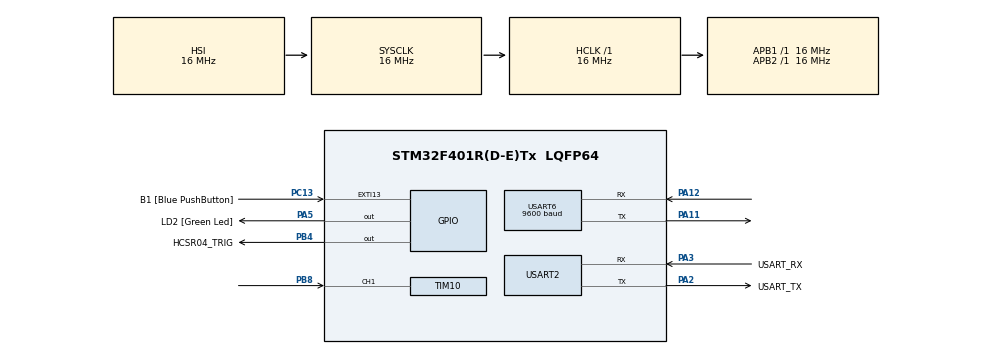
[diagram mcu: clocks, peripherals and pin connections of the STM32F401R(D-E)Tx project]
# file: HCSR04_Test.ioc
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Mcu.Family=STM32F4
Mcu.Name=STM32F401R(D-E)Tx
Mcu.Package=LQFP64
NVIC.PriorityGroup=NVIC_PRIORITYGROUP_0
NVIC.TIM1_UP_TIM10_IRQn=true\:0\:0\:false\:false\:true\:true\:true\:true
NVIC.USART6_IRQn=true\:0\:0\:false\:false\:true\:true\:true\:true
PA11.Mode=Asynchronous
PA11.Signal=USART6_TX
PA12.Mode=Asynchronous
PA12.Signal=USART6_RX
PA13.GPIO_Label=TMS
PA13.Mode=Serial_Wire
PA13.Signal=SYS_JTMS-SWDIO
PA14.GPIO_Label=TCK
PA14.Mode=Serial_Wire
PA14.Signal=SYS_JTCK-SWCLK
PA2.GPIO_Label=USART_TX
PA2.GPIO_Mode=GPIO_MODE_AF_PP
PA2.GPIO_PuPd=GPIO_NOPULL
PA2.GPIO_Speed=GPIO_SPEED_FREQ_LOW
PA2.Mode=Asynchronous
PA2.Signal=USART2_TX
PA3.GPIO_Label=USART_RX
PA3.GPIO_Mode=GPIO_MODE_AF_PP
PA3.GPIO_PuPd=GPIO_NOPULL
PA3.GPIO_Speed=GPIO_SPEED_FREQ_LOW
PA3.Mode=Asynchronous
PA3.Signal=USART2_RX
PA5.GPIO_Label=LD2 [Green Led]
PA5.GPIO_Mode=GPIO_MODE_OUTPUT_PP
PA5.GPIO_PuPd=GPIO_NOPULL
PA5.GPIO_Speed=GPIO_SPEED_FREQ_LOW
PA5.Signal=GPIO_Output
PB3.GPIO_Label=SWO
PB3.Signal=SYS_JTDO-SWO
PB4.GPIO_Label=HCSR04_TRIG
PB4.Signal=GPIO_Output
PB8.Signal=S_TIM10_CH1
PC13-ANTI_TAMP.GPIO_Label=B1 [Blue PushButton]
PC13-ANTI_TAMP.GPIO_ModeDefaultEXTI=GPIO_MODE_IT_FALLING
PC13-ANTI_TAMP.GPIO_PuPd=GPIO_NOPULL
PC13-ANTI_TAMP.Signal=GPXTI13
PC14-OSC32_IN.Mode=LSE-External-Oscillator
PC14-OSC32_IN.Signal=RCC_OSC32_IN
PC15-OSC32_OUT.Mode=LSE-External-Oscillator
PC15-OSC32_OUT.Signal=RCC_OSC32_OUT
PH0\ -\ OSC_IN.Mode=HSE-External-Clock-Source
PH0\ -\ OSC_IN.Signal=RCC_OSC_IN
PH1\ -\ OSC_OUT.Mode=HSE-External-Clock-Source
PH1\ -\ OSC_OUT.Signal=RCC_OSC_OUT
ProjectManager.HeapSize=0x200
ProjectManager.StackSize=0x400
ProjectManager.TargetToolchain=STM32CubeIDE
RCC.48MHZClocksFreq_Value=48000000
RCC.AHBFreq_Value=16000000
RCC.APB1Freq_Value=16000000
RCC.APB1TimFreq_Value=16000000
RCC.APB2Freq_Value=16000000
RCC.APB2TimFreq_Value=16000000
RCC.CortexFreq_Value=16000000
RCC.HCLKFreq_Value=16000000
RCC.HSE_VALUE=8000000
RCC.HSI_VALUE=16000000
RCC.PLLN=336
RCC.PLLP=RCC_PLLP_DIV4
RCC.PLLQ=7
RCC.SYSCLKFreq_VALUE=16000000
RCC.VCOOutputFreq_Value=336000000
SH.S_TIM10_CH1.0=TIM10_CH1,Input_Capture1_from_TI1
TIM10.Channel=TIM_CHANNEL_1
TIM10.ICPolarity_CH1=TIM_INPUTCHANNELPOLARITY_BOTHEDGE
TIM10.Prescaler=16-1
USART2.VirtualMode=VM_ASYNC
USART6.BaudRate=9600
USART6.Mode=MODE_TX_RX
USART6.VirtualMode=VM_ASYNC
VP_TIM10_VS_ClockSourceINT.Mode=Enable_Timer
board=NUCLEO-F401RE

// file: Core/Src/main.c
/* USER CODE BEGIN Header */
/**
  ******************************************************************************
  * @file           : main.c
  * @brief          : Main program body
  ******************************************************************************
  * @attention
  *
  * Copyright (c) 2024 STMicroelectronics.
  * All rights reserved.
  *
  * This software is licensed under terms that can be found in the LICENSE file
  * in the root directory of this software component.
  * If no LICENSE file comes with this software, it is provided AS-IS.
  *
  ******************************************************************************
  */
/* USER CODE END Header */
#include "main.h"

/* USER CODE BEGIN Includes */
#include <stdio.h>
#include <string.h>
/* USER CODE END Includes */

TIM_HandleTypeDef htim10;

UART_HandleTypeDef huart2;
UART_HandleTypeDef huart6;

void SystemClock_Config(void);
static void MX_GPIO_Init(void);
static void MX_USART2_UART_Init(void);
static void MX_USART6_UART_Init(void);
static void MX_TIM10_Init(void);

/* USER CODE BEGIN 0 */
volatile uint8_t hcsr04_Rx_flag = 0;
volatile uint8_t first_edge = 0;
volatile uint16_t time_edge1 = 0;
volatile uint16_t time_edge2 = 0;
/* USER CODE END 0 */

int main(void)
{

  /* USER CODE BEGIN 1 */
	uint16_t time_diff = 0;
	uint16_t distance = 0;
	uint8_t txd_msg_buffer[64] = {0};

void HCSR04_TRIG_PULSE(void) {
	HAL_GPIO_WritePin(HCSR04_TRIG_GPIO_Port, HCSR04_TRIG_Pin, GPIO_PIN_SET);
	for (int j = 0; j != 15; ++j) {};
	HAL_GPIO_WritePin(HCSR04_TRIG_GPIO_Port, HCSR04_TRIG_Pin, GPIO_PIN_RESET);
}
  /* USER CODE END 1 */

  /* MCU Configuration--------------------------------------------------------*/

  /* Reset of all peripherals, Initializes the Flash interface and the Systick. */
  HAL_Init();

  /* Configure the system clock */
  SystemClock_Config();

  /* Initialize all configured peripherals */
  MX_GPIO_Init();
  MX_USART2_UART_Init();
  MX_USART6_UART_Init();
  MX_TIM10_Init();
  /* USER CODE BEGIN 2 */
  HAL_TIM_Base_Init(&htim10);
  HAL_TIM_Base_Start(&htim10);
  HAL_TIM_IC_Start_IT(&htim10, TIM_CHANNEL_1);
  /* USER CODE END 2 */

  /* Infinite loop */
  /* USER CODE BEGIN WHILE */

  while (1)
  {
	  hcsr04_Rx_flag = 0;
	  first_edge = 0;
	  time_edge1 = 0;
	  time_edge2 = 0;
	  time_diff = 0;
	  distance = 0;

	  HCSR04_TRIG_PULSE();

	  while(hcsr04_Rx_flag == 0) {};

	  time_diff = time_edge2 - time_edge1;
	  distance = time_diff / 58;

	  sprintf((char *) txd_msg_buffer, " ECHO Pulse Width (usec): %d \r\n", time_diff);
	  HAL_UART_Transmit(&huart6, txd_msg_buffer, strlen((char *)txd_msg_buffer), 100);

	  sprintf((char *) txd_msg_buffer, " DISTANCE TO OBJECT (cm): %d \r\n", distance);
	  HAL_UART_Transmit(&huart6, txd_msg_buffer, strlen((char *)txd_msg_buffer), 100);
	  HAL_Delay(500);
    /* USER CODE END WHILE */

  }
}

void SystemClock_Config(void)
{
  RCC_OscInitTypeDef RCC_OscInitStruct = {0};
  RCC_ClkInitTypeDef RCC_ClkInitStruct = {0};

  /** Configure the main internal regulator output voltage
  */
  __HAL_RCC_PWR_CLK_ENABLE();
  __HAL_PWR_VOLTAGESCALING_CONFIG(PWR_REGULATOR_VOLTAGE_SCALE2);

  /** Initializes the RCC Oscillators according to the specified parameters
  * in the RCC_OscInitTypeDef structure.
  */
  RCC_OscInitStruct.OscillatorType = RCC_OSCILLATORTYPE_HSI;
  RCC_OscInitStruct.HSIState = RCC_HSI_ON;
  RCC_OscInitStruct.HSICalibrationValue = RCC_HSICALIBRATION_DEFAULT;
  RCC_OscInitStruct.PLL.PLLState = RCC_PLL_NONE;
  if (HAL_RCC_OscConfig(&RCC_OscInitStruct) != HAL_OK)
  {
    Error_Handler();
  }

  /** Initializes the CPU, AHB and APB buses clocks
  */
  RCC_ClkInitStruct.ClockType = RCC_CLOCKTYPE_HCLK|RCC_CLOCKTYPE_SYSCLK
                              |RCC_CLOCKTYPE_PCLK1|RCC_CLOCKTYPE_PCLK2;
  RCC_ClkInitStruct.SYSCLKSource = RCC_SYSCLKSOURCE_HSI;
  RCC_ClkInitStruct.AHBCLKDivider = RCC_SYSCLK_DIV1;
  RCC_ClkInitStruct.APB1CLKDivider = RCC_HCLK_DIV1;
  RCC_ClkInitStruct.APB2CLKDivider = RCC_HCLK_DIV1;

  if (HAL_RCC_ClockConfig(&RCC_ClkInitStruct, FLASH_LATENCY_0) != HAL_OK)
  {
    Error_Handler();
  }
}

static void MX_TIM10_Init(void)
{

  TIM_IC_InitTypeDef sConfigIC = {0};

  htim10.Instance = TIM10;
  htim10.Init.Prescaler = 16-1;
  htim10.Init.CounterMode = TIM_COUNTERMODE_UP;
  htim10.Init.Period = 65535;
  htim10.Init.ClockDivision = TIM_CLOCKDIVISION_DIV1;
  htim10.Init.AutoReloadPreload = TIM_AUTORELOAD_PRELOAD_DISABLE;
  if (HAL_TIM_Base_Init(&htim10) != HAL_OK)
  {
    Error_Handler();
  }
  if (HAL_TIM_IC_Init(&htim10) != HAL_OK)
  {
    Error_Handler();
  }
  sConfigIC.ICPolarity = TIM_INPUTCHANNELPOLARITY_BOTHEDGE;
  sConfigIC.ICSelection = TIM_ICSELECTION_DIRECTTI;
  sConfigIC.ICPrescaler = TIM_ICPSC_DIV1;
  sConfigIC.ICFilter = 0;
  if (HAL_TIM_IC_ConfigChannel(&htim10, &sConfigIC, TIM_CHANNEL_1) != HAL_OK)
  {
    Error_Handler();
  }

}

static void MX_USART2_UART_Init(void)
{

  huart2.Instance = USART2;
  huart2.Init.BaudRate = 115200;
  huart2.Init.WordLength = UART_WORDLENGTH_8B;
  huart2.Init.StopBits = UART_STOPBITS_1;
  huart2.Init.Parity = UART_PARITY_NONE;
  huart2.Init.Mode = UART_MODE_TX_RX;
  huart2.Init.HwFlowCtl = UART_HWCONTROL_NONE;
  huart2.Init.OverSampling = UART_OVERSAMPLING_16;
  if (HAL_UART_Init(&huart2) != HAL_OK)
  {
    Error_Handler();
  }

}

static void MX_USART6_UART_Init(void)
{

  huart6.Instance = USART6;
  huart6.Init.BaudRate = 9600;
  huart6.Init.WordLength = UART_WORDLENGTH_8B;
  huart6.Init.StopBits = UART_STOPBITS_1;
  huart6.Init.Parity = UART_PARITY_NONE;
  huart6.Init.Mode = UART_MODE_TX_RX;
  huart6.Init.HwFlowCtl = UART_HWCONTROL_NONE;
  huart6.Init.OverSampling = UART_OVERSAMPLING_16;
  if (HAL_UART_Init(&huart6) != HAL_OK)
  {
    Error_Handler();
  }

}

static void MX_GPIO_Init(void)
{
  GPIO_InitTypeDef GPIO_InitStruct = {0};

  /* GPIO Ports Clock Enable */
  __HAL_RCC_GPIOC_CLK_ENABLE();
  __HAL_RCC_GPIOH_CLK_ENABLE();
  __HAL_RCC_GPIOA_CLK_ENABLE();
  __HAL_RCC_GPIOB_CLK_ENABLE();

  /*Configure GPIO pin Output Level */
  HAL_GPIO_WritePin(LD2_GPIO_Port, LD2_Pin, GPIO_PIN_RESET);

  /*Configure GPIO pin Output Level */
  HAL_GPIO_WritePin(HCSR04_TRIG_GPIO_Port, HCSR04_TRIG_Pin, GPIO_PIN_RESET);

  /*Configure GPIO pin : B1_Pin */
  GPIO_InitStruct.Pin = B1_Pin;
  GPIO_InitStruct.Mode = GPIO_MODE_IT_FALLING;
  GPIO_InitStruct.Pull = GPIO_NOPULL;
  HAL_GPIO_Init(B1_GPIO_Port, &GPIO_InitStruct);

  /*Configure GPIO pin : LD2_Pin */
  GPIO_InitStruct.Pin = LD2_Pin;
  GPIO_InitStruct.Mode = GPIO_MODE_OUTPUT_PP;
  GPIO_InitStruct.Pull = GPIO_NOPULL;
  GPIO_InitStruct.Speed = GPIO_SPEED_FREQ_LOW;
  HAL_GPIO_Init(LD2_GPIO_Port, &GPIO_InitStruct);

  /*Configure GPIO pin : HCSR04_TRIG_Pin */
  GPIO_InitStruct.Pin = HCSR04_TRIG_Pin;
  GPIO_InitStruct.Mode = GPIO_MODE_OUTPUT_PP;
  GPIO_InitStruct.Pull = GPIO_NOPULL;
  GPIO_InitStruct.Speed = GPIO_SPEED_FREQ_LOW;
  HAL_GPIO_Init(HCSR04_TRIG_GPIO_Port, &GPIO_InitStruct);

}

/* USER CODE BEGIN 4 */
void HAL_TIM_IC_CaptureCallback(TIM_HandleTypeDef *htim) {
	if (htim->Instance == TIM10) {
		if (htim->Channel == 1) {
			if (first_edge == 0) {
				time_edge1 = HAL_TIM_ReadCapturedValue(htim, TIM_CHANNEL_1);
				first_edge = 1;
			} else {
				time_edge2 = HAL_TIM_ReadCapturedValue(htim, TIM_CHANNEL_1);
				__HAL_TIM_SET_COUNTER(htim, 0);
				hcsr04_Rx_flag = 1;
			}
		}
	}
}
/* USER CODE END 4 */

void Error_Handler(void)
{
  __disable_irq();
  while (1)
  {
  }
}
